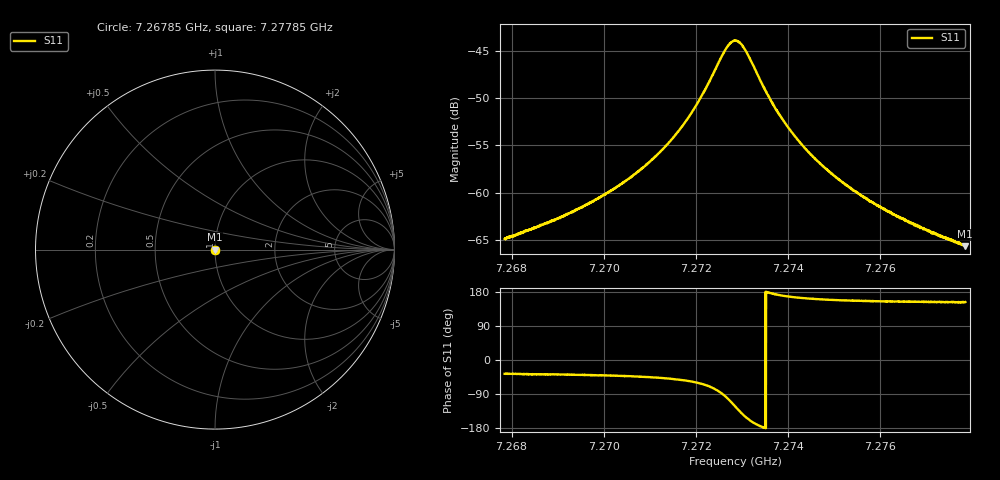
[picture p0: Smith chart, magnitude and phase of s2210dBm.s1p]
#  HZ  S  MA  R  50.00
! Rohde & Schwarz Vector Network Analyzer
! Rohde-Schwarz,ZNB20-2Port,1311601062101564,3.50
! Created: UTC 4/2/2026, 6:04:24 AM
! freq[Hz]  mag:S21  ang:S21
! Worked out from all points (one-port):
!   2001 points, 7.26785 GHz to 7.27785 GHz, reference 50 ohm
!   lowest |S11| = -65.6 dB at 7.27784 GHz (marker M1), VSWR 1.00, Z = 50 + j0.0239 ohm
!   |S11| at or under -10 dB: start of sweep to end of sweep
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7.26785e9  0.0005714 -36.5
7.2691e9  0.0007508 -38.1
7.269745e9  0.0008957 -39.9
7.27035e9  0.001099 -41.7
7.270725e9  0.001281 -43.6
7.271035e9  0.001486 -45.6
7.271355e9  0.001771 -48.3
7.2716e9  0.002087 -51.3
7.271835e9  0.00249 -55.4
7.272045e9  0.003004 -60.4
7.27223e9  0.003603 -67.0
7.27265e9  0.005747 -96.9
7.27275e9  0.006169 -108.8
7.27285e9  0.006375 -122.0
7.27295e9  0.006227 -135.0
7.273045e9  0.005816 -146.4
7.2735e9  0.003497 -179.4
7.27368e9  0.002916 174.5
7.2741e9  0.002064 166.1
7.274395e9  0.001689 162.7
7.274635e9  0.001473 160.7
7.27503e9  0.001216 158.2
7.27535e9  0.00106 156.9
7.27579e9  0.0008977 155.7
7.2766e9  0.0007107 153.9
7.277275e9  0.0005994 153.5
7.27784e9  0.0005227 152.7
7.27785e9  0.0005261 152.8
